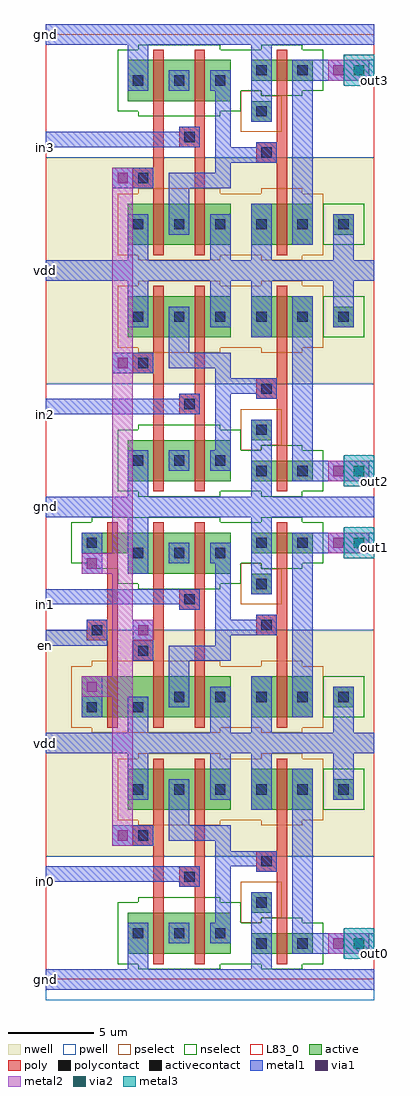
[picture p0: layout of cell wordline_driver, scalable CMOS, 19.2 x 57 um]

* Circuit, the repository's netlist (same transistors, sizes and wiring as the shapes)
.SUBCKT wordline_driver in0 in1 in2 in3 out0 out1 out2 out3 en vdd gnd
M1 en_bar en gnd gnd n l=0.6u w=1.2u
M2 en_bar en vdd vdd p l=0.6u w=2.4u
M3 gnd en_bar in4 gnd n l=0.6u w=2.4u
M4 in4 in0 z0 gnd n l=0.6u w=2.4u
M5 vdd in0 z0 vdd p l=0.6u w=2.4u
M6 z0 en_bar vdd vdd p l=0.6u w=2.4u
M7 gnd en_bar in5 gnd n l=0.6u w=2.4u
M8 in5 in1 z1 gnd n l=0.6u w=2.4u
M9 vdd in1 z1 vdd p l=0.6u w=2.4u
M10 z1 en_bar vdd vdd p l=0.6u w=2.4u
M11 gnd en_bar in6 gnd n l=0.6u w=2.4u
M12 in6 in2 z2 gnd n l=0.6u w=2.4u
M13 vdd in2 z2 vdd p l=0.6u w=2.4u
M14 z2 en_bar vdd vdd p l=0.6u w=2.4u
M15 gnd en_bar in7 gnd n l=0.6u w=2.4u
M16 in7 in3 z3 gnd n l=0.6u w=2.4u
M17 vdd in3 z3 vdd p l=0.6u w=2.4u
M18 z3 en_bar vdd vdd p l=0.6u w=2.4u
M19 out0 z0 gnd gnd n l=0.6u w=1.2u
M20 out0 z0 vdd vdd p l=0.6u w=2.4u
M21 out1 z1 gnd gnd n l=0.6u w=1.2u
M22 out1 z1 vdd vdd p l=0.6u w=2.4u
M23 out2 z2 gnd gnd n l=0.6u w=1.2u
M24 out2 z2 vdd vdd p l=0.6u w=2.4u
M25 out3 z3 gnd gnd n l=0.6u w=1.2u
M26 out3 z3 vdd vdd p l=0.6u w=2.4u
.ENDS wordline_driver

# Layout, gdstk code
import gdstk
lib = gdstk.Library(unit=1e-6, precision=1e-09)
def R(c, l, rs):  # rectangles x0, y0, x1, y1
    for r in rs: c.add(gdstk.rectangle(r[:2], r[2:], *l))
def A(c, l, x, y, w, h, nx, ny, dx, dy):  # array of equal rectangles
    R(c, l, [(x+i*dx, y+j*dy, x+i*dx+w, y+j*dy+h) for i in range(nx) for j in range(ny)])
pwell = (41, 0)
nwell = (42, 0)
active = (43, 0)
pselect = (44, 0)
nselect = (45, 0)
poly = (46, 0)
polycontact = (47, 0)
activecontact = (48, 0)
metal1 = (49, 0)
via1 = (50, 0)
metal2 = (51, 0)
via2 = (61, 0)
metal3 = (62, 0)
L83_0 = (83, 0)

wordline_driver = lib.new_cell('wordline_driver')
R(wordline_driver, pwell, [(0,-1.2,19.2,7.2), (0,20.4,19.2,34.8), (0,48,19.2,55.8)])
R(wordline_driver, nwell, [(0,7.2,19.2,20.4), (0,34.8,19.2,48)])
R(wordline_driver, active, [(4.8,1.5,10.8,3.9), (12,1.5,15.6,2.7), (12,3.9,13.2,5.1), (4.8,9.9,10.8,12.3), (12,9.9,15.6,12.3), (16.8,10.5,18,11.7), (2.1,15.3,10.8,17.7), (12,15.3,15.6,17.7), (16.8,15.9,18,17.1), (12,22.5,13.2,23.7), (4.8,23.7,10.8,24.9), (2.1,24.9,10.8,26.1), (12,24.9,15.6,26.1), (4.8,29.1,10.8,31.5), (12,29.1,15.6,30.3), (12,31.5,13.2,32.7), (4.8,37.5,10.8,39.9), (12,37.5,15.6,39.9), (16.8,38.1,18,39.3), (4.8,42.9,10.8,45.3), (12,42.9,15.6,45.3), (16.8,43.5,18,44.7), (12,50.1,13.2,51.3), (4.8,51.3,10.8,53.7), (12,52.5,15.6,53.7)])
R(wordline_driver, pselect, [(11.4,3.3,12.6,3.6), (11.4,3.6,13.8,5.7), (5.4,9,10.2,9.3), (12.6,9,15,9.3), (4.2,9.3,16.2,12.9), (5.4,12.9,10.2,13.2), (12.6,12.9,15,13.2), (2.7,14.4,10.2,14.7), (12.6,14.4,15,14.7), (1.5,14.7,16.2,18.3), (2.7,18.3,10.2,18.6), (12.6,18.3,15,18.6), (11.4,21.9,13.8,24), (11.4,24,12.6,24.3), (11.4,30.9,12.6,31.2), (11.4,31.2,13.8,33.3), (5.4,36.6,10.2,36.9), (12.6,36.6,15,36.9), (4.2,36.9,16.2,40.5), (5.4,40.5,10.2,40.8), (12.6,40.5,15,40.8), (5.4,42,10.2,42.3), (12.6,42,15,42.3), (4.2,42.3,16.2,45.9), (5.4,45.9,10.2,46.2), (12.6,45.9,15,46.2), (11.4,49.5,13.8,51.6), (11.4,51.6,12.6,51.9)])
R(wordline_driver, nselect, [(5.4,0.6,10.2,0.9), (12.6,0.6,15,0.9), (4.2,0.9,16.2,3.3), (4.2,3.3,11.4,4.5), (12.6,3.3,15,3.6), (5.4,4.5,10.2,4.8), (16.2,9.9,18.6,12.3), (16.2,15.3,18.6,17.7), (5.4,22.8,10.2,23.1), (4.2,23.1,11.4,24), (2.7,24,11.4,24.3), (12.6,24,15,24.3), (1.5,24.3,16.2,26.7), (2.7,26.7,10.2,27), (12.6,26.7,15,27), (5.4,28.2,10.2,28.5), (12.6,28.2,15,28.5), (4.2,28.5,16.2,30.9), (4.2,30.9,11.4,32.1), (12.6,30.9,15,31.2), (5.4,32.1,10.2,32.4), (16.2,37.5,18.6,39.9), (16.2,42.9,18.6,45.3), (5.4,50.4,10.2,50.7), (4.2,50.7,11.4,51.9), (12.6,51.6,15,51.9), (4.2,51.9,16.2,54.3), (5.4,54.3,10.2,54.6), (12.6,54.3,15,54.6)])
A(wordline_driver, poly, 12.3, 6.3, 1.8, 1.2, 1, 4, 0, 13.8)
R(wordline_driver, poly, [(6.3,0.9,6.9,7.8), (8.7,0.9,9.3,5.4), (13.5,0.9,14.1,6.3), (7.8,5.4,9.3,6.6), (8.7,6.6,9.3,12.9), (13.5,7.5,14.1,12.9), (5.1,7.8,6.9,9), (6.3,9,6.9,12.9), (3.6,14.7,4.2,19.8), (6.3,14.7,6.9,18.6), (8.7,14.7,9.3,21.6), (13.5,14.7,14.1,20.1), (5.1,18.6,6.9,19.8), (2.4,19.8,4.2,21), (6.3,19.8,6.9,26.7), (3.6,21,4.2,26.7), (13.5,21.3,14.1,26.7), (7.8,21.6,9.3,22.8), (8.7,22.8,9.3,26.7), (6.3,28.5,6.9,35.4), (8.7,28.5,9.3,33), (13.5,28.5,14.1,33.9), (7.8,33,9.3,34.2), (8.7,34.2,9.3,40.5), (13.5,35.1,14.1,40.5), (5.1,35.4,6.9,36.6), (6.3,36.6,6.9,40.5), (6.3,42.3,6.9,46.2), (8.7,42.3,9.3,48.6), (13.5,42.3,14.1,47.7), (5.1,46.2,6.9,47.4), (6.3,47.4,6.9,54.3), (7.8,48.6,9.3,49.8), (13.5,48.9,14.1,54.3), (8.7,49.8,9.3,54.3)])
A(wordline_driver, polycontact, 12.6, 6.6, 0.6, 0.6, 1, 4, 0, 13.8)
R(wordline_driver, polycontact, [(8.1,5.7,8.7,6.3), (5.4,8.1,6,8.7), (5.4,18.9,6,19.5), (2.7,20.1,3.3,20.7), (8.1,21.9,8.7,22.5), (8.1,33.3,8.7,33.9), (5.4,35.7,6,36.3), (5.4,46.5,6,47.1), (8.1,48.9,8.7,49.5)])
A(wordline_driver, activecontact, 5.1, 2.4, 0.6, 0.6, 3, 2, 2.4, 22.2)
A(wordline_driver, activecontact, 5.1, 10.8, 0.6, 0.6, 6, 2, 2.4, 27.6)
A(wordline_driver, activecontact, 7.5, 16.2, 0.6, 0.6, 5, 1, 2.4, 0)
A(wordline_driver, activecontact, 5.1, 30, 0.6, 0.6, 3, 2, 2.4, 22.2)
A(wordline_driver, activecontact, 5.1, 43.8, 0.6, 0.6, 6, 1, 2.4, 0)
R(wordline_driver, activecontact, [(12.3,1.8,12.9,2.4), (14.7,1.8,15.3,2.4), (12.3,4.2,12.9,4.8), (2.4,15.6,3,16.2), (5.1,15.6,5.7,16.2), (12.3,22.8,12.9,23.4), (2.4,25.2,3,25.8), (12.3,25.2,12.9,25.8), (14.7,25.2,15.3,25.8), (12.3,29.4,12.9,30), (14.7,29.4,15.3,30), (12.3,31.8,12.9,32.4), (12.3,50.4,12.9,51), (12.3,52.8,12.9,53.4), (14.7,52.8,15.3,53.4)])
A(wordline_driver, metal1, 0, -0.6, 19.2, 1.2, 1, 5, 0, 13.8)
R(wordline_driver, metal1, [(4.8,0.6,6,3.3), (12,0.6,13.2,5.1), (14.4,1.5,19.2,2.7), (7.2,2.1,8.4,3.3), (9.6,2.1,10.8,3.3), (14.4,2.7,15.6,12.3), (9.9,3.3,10.8,6.6), (7.8,5.4,9,5.7), (0,5.7,9,6.6), (12.3,6.3,13.5,6.6), (9.9,6.6,13.5,7.5), (9.9,7.5,10.8,8.1), (3.9,7.8,6.3,9), (7.2,8.1,10.8,9), (7.2,9,8.4,11.7), (12,9.9,13.2,13.2), (4.8,10.5,6,13.2), (9.6,10.5,10.8,13.2), (16.8,10.5,18,13.2), (4.8,14.4,6,16.5), (9.6,14.4,10.8,17.1), (12,14.4,13.2,17.7), (16.8,14.4,18,17.1), (2.1,15.3,3.3,17.7), (14.4,15.3,15.6,24.9), (7.2,15.9,8.4,18.6), (5.1,18.6,6.3,21), (7.2,18.6,10.8,19.5), (0,19.5,3.6,20.4), (9.9,19.5,10.8,20.1), (9.9,20.1,13.5,21), (2.4,20.4,3.6,21), (9.9,21,10.8,24.3), (12.3,21,13.5,21.3), (7.8,21.6,9,21.9), (0,21.9,9,22.8), (12,22.5,13.2,27), (2.1,23.7,3.3,26.1), (4.8,23.7,6,27), (7.2,24.3,8.4,25.5), (9.6,24.3,10.8,25.5), (14.4,24.9,19.2,26.1), (4.8,28.2,6,30.9), (12,28.2,13.2,32.7), (14.4,29.1,19.2,30.3), (7.2,29.7,8.4,30.9), (9.6,29.7,10.8,30.9), (14.4,30.3,15.6,39.9), (9.9,30.9,10.8,34.2), (0,33,9,33.9), (7.8,33.9,9,34.2), (12.3,33.9,13.5,34.2), (9.9,34.2,13.5,35.1), (9.9,35.1,10.8,35.7), (3.9,35.4,6.3,36.6), (7.2,35.7,10.8,36.6), (7.2,36.6,8.4,39.3), (12,37.5,13.2,40.8), (4.8,38.1,6,40.8), (9.6,38.1,10.8,40.8), (16.8,38.1,18,40.8), (4.8,42,6,44.7), (9.6,42,10.8,44.7), (12,42,13.2,45.3), (16.8,42,18,44.7), (14.4,42.9,15.6,52.5), (7.2,43.5,8.4,46.2), (3.9,46.2,6.3,47.4), (7.2,46.2,10.8,47.1), (9.9,47.1,10.8,47.7), (9.9,47.7,13.5,48.6), (0,48.6,9,49.5), (9.9,48.6,10.8,51.9), (12.3,48.6,13.5,48.9), (7.8,49.5,9,49.8), (12,50.1,13.2,54.6), (4.8,51.9,6,54.6), (7.2,51.9,8.4,53.1), (9.6,51.9,10.8,53.1), (14.4,52.5,19.2,53.7)])
R(wordline_driver, via1, [(16.8,1.8,17.4,2.4), (4.2,8.1,4.8,8.7), (2.4,16.8,3,17.4), (5.4,20.1,6,20.7), (2.4,24,3,24.6), (16.8,25.2,17.4,25.8), (16.8,29.4,17.4,30), (4.2,35.7,4.8,36.3), (4.2,46.5,4.8,47.1), (16.8,52.8,17.4,53.4)])
R(wordline_driver, metal2, [(16.5,1.5,18.9,2.7), (3.9,7.8,5.1,16.5), (2.1,16.5,5.1,17.7), (3.9,17.7,5.1,19.8), (3.9,19.8,6.3,21), (3.9,21,5.1,23.7), (2.1,23.7,5.1,24.9), (3.9,24.9,5.1,47.4), (16.5,24.9,18.9,26.1), (16.5,29.1,18.9,30.3), (16.5,52.5,18.9,53.7)])
R(wordline_driver, via2, [(18,1.8,18.6,2.4), (18,25.2,18.6,25.8), (18,29.4,18.6,30), (18,52.8,18.6,53.4)])
R(wordline_driver, metal3, [(17.4,1.2,19.2,3), (17.4,24.6,19.2,26.4), (17.4,28.8,19.2,30.6), (17.4,52.2,19.2,54)])
R(wordline_driver, L83_0, [(0,0,19.2,55.2)])
wordline_driver.add(gdstk.Label('out0', (19.2,1.5), layer=49, texttype=0))
wordline_driver.add(gdstk.Label('out1', (19.2,25.2), layer=49, texttype=0))
wordline_driver.add(gdstk.Label('out2', (19.2,29.1), layer=49, texttype=0))
wordline_driver.add(gdstk.Label('out3', (19.2,52.5), layer=49, texttype=0))
wordline_driver.add(gdstk.Label('in3', (0,48.6), layer=49, texttype=0))
wordline_driver.add(gdstk.Label('gnd', (0,55.2), layer=49, texttype=0))
wordline_driver.add(gdstk.Label('vdd', (0,41.4), layer=49, texttype=0))
wordline_driver.add(gdstk.Label('in2', (0,33), layer=49, texttype=0))
wordline_driver.add(gdstk.Label('vdd', (0,13.8), layer=49, texttype=0))
wordline_driver.add(gdstk.Label('in0', (0,5.7), layer=49, texttype=0))
wordline_driver.add(gdstk.Label('gnd', (0,0), layer=49, texttype=0))
wordline_driver.add(gdstk.Label('gnd', (0,27.6), layer=49, texttype=0))
wordline_driver.add(gdstk.Label('in1', (0,21.9), layer=49, texttype=0))
wordline_driver.add(gdstk.Label('en', (0,19.5), layer=49, texttype=0))

lib.write_gds('wordline_driver.gds')
